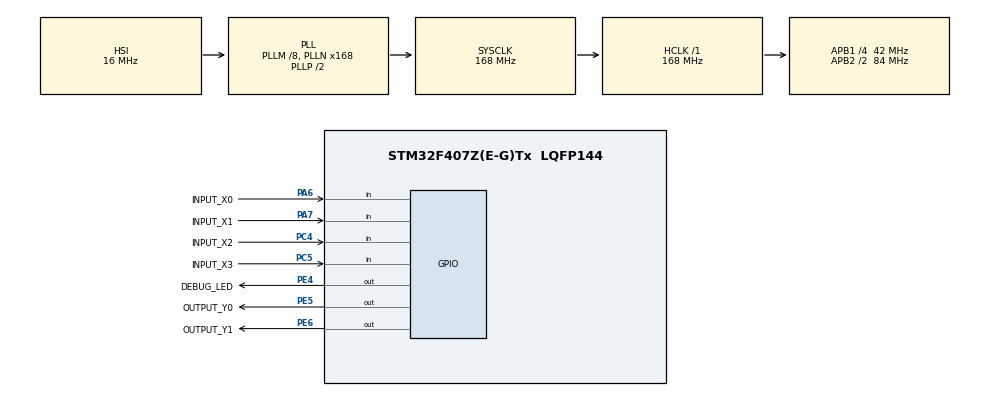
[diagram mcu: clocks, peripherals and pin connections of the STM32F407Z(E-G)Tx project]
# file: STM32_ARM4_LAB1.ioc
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Mcu.Family=STM32F4
Mcu.Name=STM32F407Z(E-G)Tx
Mcu.Package=LQFP144
NVIC.PriorityGroup=NVIC_PRIORITYGROUP_4
PA13.Mode=Serial_Wire
PA13.Signal=SYS_JTMS-SWDIO
PA14.Mode=Serial_Wire
PA14.Signal=SYS_JTCK-SWCLK
PA6.GPIO_Label=INPUT_X0
PA6.Signal=GPIO_Input
PA7.GPIO_Label=INPUT_X1
PA7.Signal=GPIO_Input
PC4.GPIO_Label=INPUT_X2
PC4.Signal=GPIO_Input
PC5.GPIO_Label=INPUT_X3
PC5.Signal=GPIO_Input
PE4.GPIO_Label=DEBUG_LED
PE4.Signal=GPIO_Output
PE5.GPIO_Label=OUTPUT_Y0
PE5.Signal=GPIO_Output
PE6.GPIO_Label=OUTPUT_Y1
PE6.Signal=GPIO_Output
PH0-OSC_IN.Mode=HSE-External-Oscillator
PH0-OSC_IN.Signal=RCC_OSC_IN
PH1-OSC_OUT.Mode=HSE-External-Oscillator
PH1-OSC_OUT.Signal=RCC_OSC_OUT
ProjectManager.HeapSize=0x200
ProjectManager.StackSize=0x400
ProjectManager.TargetToolchain=STM32CubeIDE
RCC.48MHZClocksFreq_Value=84000000
RCC.AHBFreq_Value=168000000
RCC.APB1CLKDivider=RCC_HCLK_DIV4
RCC.APB1Freq_Value=42000000
RCC.APB1TimFreq_Value=84000000
RCC.APB2CLKDivider=RCC_HCLK_DIV2
RCC.APB2Freq_Value=84000000
RCC.APB2TimFreq_Value=168000000
RCC.CortexFreq_Value=168000000
RCC.HCLKFreq_Value=168000000
RCC.HSE_VALUE=8000000
RCC.HSI_VALUE=16000000
RCC.LSE_VALUE=32768
RCC.PLLM=8
RCC.PLLN=168
RCC.SYSCLKFreq_VALUE=168000000
RCC.SYSCLKSource=RCC_SYSCLKSOURCE_PLLCLK
RCC.VCOOutputFreq_Value=336000000
board=custom

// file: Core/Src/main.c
/* USER CODE BEGIN Header */
/**
  ******************************************************************************
  * @file           : main.c
  * @brief          : Main program body
  ******************************************************************************
  * @attention
  *
  * <h2><center>&copy; Copyright (c) 2024 STMicroelectronics.
  * All rights reserved.</center></h2>
  *
  * This software component is licensed by ST under BSD 3-Clause license,
  * the "License"; You may not use this file except in compliance with the
  * License. You may obtain a copy of the License at:
  *                        opensource.org/licenses/BSD-3-Clause
  *
  ******************************************************************************
  */
/* USER CODE END Header */
#include "main.h"

void SystemClock_Config(void);
static void MX_GPIO_Init(void);

int main(void)
{

  /* MCU Configuration--------------------------------------------------------*/

  /* Reset of all peripherals, Initializes the Flash interface and the Systick. */
  HAL_Init();

  /* Configure the system clock */
  SystemClock_Config();

  /* Initialize all configured peripherals */
  MX_GPIO_Init();

  /* Infinite loop */
  /* USER CODE BEGIN WHILE */
  int counter = 5;
  int status = 0;
  HAL_GPIO_WritePin(GPIOA, DEBUG_LED_Pin|OUTPUT_Y0_Pin|OUTPUT_Y1_Pin, 0);
  while (1)
  {
//	  DEBUG_LED = red_led_5s;
//	  OUTPUT_Y0 = green_led_3s;
//	  OUTPUT_Y1 = yellow_led_1s;
	  if (status == 0){
		  HAL_GPIO_WritePin(DEBUG_LED_GPIO_Port, DEBUG_LED_Pin, 1);
		  HAL_GPIO_WritePin(OUTPUT_Y0_GPIO_Port, OUTPUT_Y0_Pin, 0);
		  HAL_GPIO_WritePin(OUTPUT_Y1_GPIO_Port, OUTPUT_Y1_Pin, 0);
		  counter--;
		  if (counter <= 0){
			  counter = 3;
			  status = 1;
		  }
	  }
	  else if (status == 1){
		  HAL_GPIO_WritePin(DEBUG_LED_GPIO_Port, DEBUG_LED_Pin, 0);
		  HAL_GPIO_WritePin(OUTPUT_Y0_GPIO_Port, OUTPUT_Y0_Pin, 1);
		  HAL_GPIO_WritePin(OUTPUT_Y1_GPIO_Port, OUTPUT_Y1_Pin, 0);
		  counter--;
		  if (counter <= 0){
			  counter = 1;
			  status = 2;
		  }
	  }
	  else {
		  HAL_GPIO_WritePin(DEBUG_LED_GPIO_Port, DEBUG_LED_Pin, 0);
		  HAL_GPIO_WritePin(OUTPUT_Y0_GPIO_Port, OUTPUT_Y0_Pin, 0);
		  HAL_GPIO_WritePin(OUTPUT_Y1_GPIO_Port, OUTPUT_Y1_Pin, 1);
		  counter--;
		  if (counter <= 0){
			  counter = 5;
			  status = 0;
		  }
	  }
	  HAL_Delay(1000);
    /* USER CODE END WHILE */

  }
}

void SystemClock_Config(void)
{
  RCC_OscInitTypeDef RCC_OscInitStruct = {0};
  RCC_ClkInitTypeDef RCC_ClkInitStruct = {0};

  /** Configure the main internal regulator output voltage
  */
  __HAL_RCC_PWR_CLK_ENABLE();
  __HAL_PWR_VOLTAGESCALING_CONFIG(PWR_REGULATOR_VOLTAGE_SCALE1);
  /** Initializes the RCC Oscillators according to the specified parameters
  * in the RCC_OscInitTypeDef structure.
  */
  RCC_OscInitStruct.OscillatorType = RCC_OSCILLATORTYPE_HSI;
  RCC_OscInitStruct.HSIState = RCC_HSI_ON;
  RCC_OscInitStruct.HSICalibrationValue = RCC_HSICALIBRATION_DEFAULT;
  RCC_OscInitStruct.PLL.PLLState = RCC_PLL_ON;
  RCC_OscInitStruct.PLL.PLLSource = RCC_PLLSOURCE_HSI;
  RCC_OscInitStruct.PLL.PLLM = 8;
  RCC_OscInitStruct.PLL.PLLN = 168;
  RCC_OscInitStruct.PLL.PLLP = RCC_PLLP_DIV2;
  RCC_OscInitStruct.PLL.PLLQ = 4;
  if (HAL_RCC_OscConfig(&RCC_OscInitStruct) != HAL_OK)
  {
    Error_Handler();
  }
  /** Initializes the CPU, AHB and APB buses clocks
  */
  RCC_ClkInitStruct.ClockType = RCC_CLOCKTYPE_HCLK|RCC_CLOCKTYPE_SYSCLK
                              |RCC_CLOCKTYPE_PCLK1|RCC_CLOCKTYPE_PCLK2;
  RCC_ClkInitStruct.SYSCLKSource = RCC_SYSCLKSOURCE_PLLCLK;
  RCC_ClkInitStruct.AHBCLKDivider = RCC_SYSCLK_DIV1;
  RCC_ClkInitStruct.APB1CLKDivider = RCC_HCLK_DIV4;
  RCC_ClkInitStruct.APB2CLKDivider = RCC_HCLK_DIV2;

  if (HAL_RCC_ClockConfig(&RCC_ClkInitStruct, FLASH_LATENCY_5) != HAL_OK)
  {
    Error_Handler();
  }
}

static void MX_GPIO_Init(void)
{
  GPIO_InitTypeDef GPIO_InitStruct = {0};

  /* GPIO Ports Clock Enable */
  __HAL_RCC_GPIOE_CLK_ENABLE();
  __HAL_RCC_GPIOH_CLK_ENABLE();
  __HAL_RCC_GPIOA_CLK_ENABLE();
  __HAL_RCC_GPIOC_CLK_ENABLE();

  /*Configure GPIO pin Output Level */
  HAL_GPIO_WritePin(GPIOE, DEBUG_LED_Pin|OUTPUT_Y0_Pin|OUTPUT_Y1_Pin, GPIO_PIN_RESET);

  /*Configure GPIO pins : DEBUG_LED_Pin OUTPUT_Y0_Pin OUTPUT_Y1_Pin */
  GPIO_InitStruct.Pin = DEBUG_LED_Pin|OUTPUT_Y0_Pin|OUTPUT_Y1_Pin;
  GPIO_InitStruct.Mode = GPIO_MODE_OUTPUT_PP;
  GPIO_InitStruct.Pull = GPIO_NOPULL;
  GPIO_InitStruct.Speed = GPIO_SPEED_FREQ_LOW;
  HAL_GPIO_Init(GPIOE, &GPIO_InitStruct);

  /*Configure GPIO pins : INPUT_X0_Pin INPUT_X1_Pin */
  GPIO_InitStruct.Pin = INPUT_X0_Pin|INPUT_X1_Pin;
  GPIO_InitStruct.Mode = GPIO_MODE_INPUT;
  GPIO_InitStruct.Pull = GPIO_NOPULL;
  HAL_GPIO_Init(GPIOA, &GPIO_InitStruct);

  /*Configure GPIO pins : INPUT_X2_Pin INPUT_X3_Pin */
  GPIO_InitStruct.Pin = INPUT_X2_Pin|INPUT_X3_Pin;
  GPIO_InitStruct.Mode = GPIO_MODE_INPUT;
  GPIO_InitStruct.Pull = GPIO_NOPULL;
  HAL_GPIO_Init(GPIOC, &GPIO_InitStruct);

}

void Error_Handler(void)
{
  __disable_irq();
  while (1)
  {
  }
}

/************************ (C) COPYRIGHT STMicroelectronics *****END OF FILE****/
